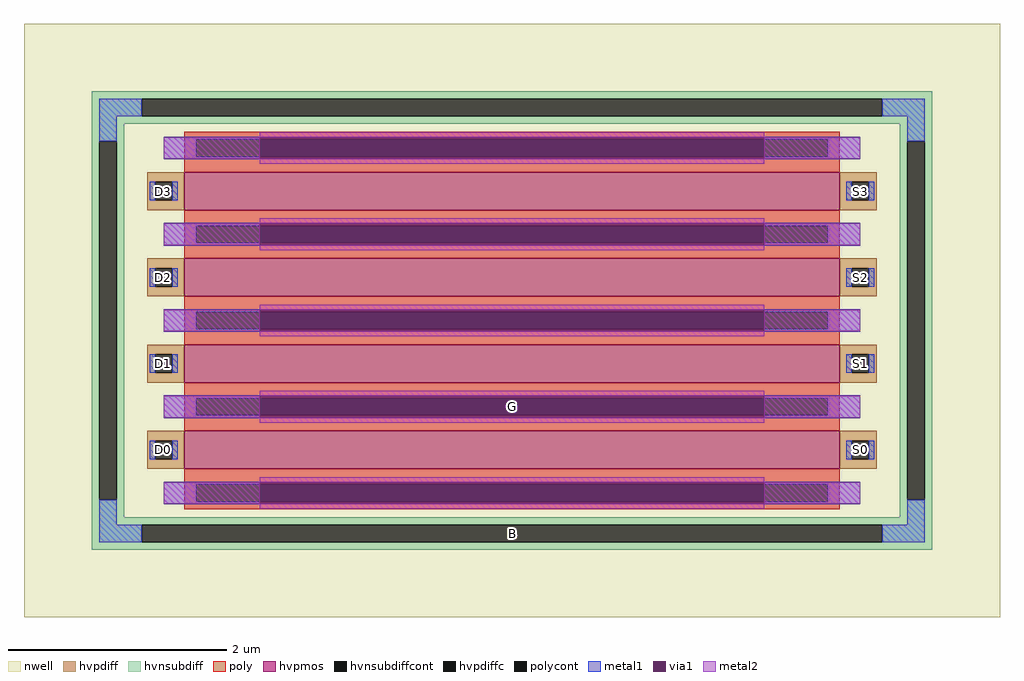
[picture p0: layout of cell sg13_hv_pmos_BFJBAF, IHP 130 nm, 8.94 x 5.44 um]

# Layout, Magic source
magic
tech ihp-sg13cmos5l
magscale 1 2
<< nwell >>
rect -894 -544 894 544
<< hvpmos >>
rect -600 202 600 272
rect -600 44 600 114
rect -600 -114 600 -44
rect -600 -272 600 -202
<< hvpdiff >>
rect -668 254 -600 272
rect -668 220 -654 254
rect -622 220 -600 254
rect -668 202 -600 220
rect 600 254 668 272
rect 600 220 622 254
rect 654 220 668 254
rect 600 202 668 220
rect -668 96 -600 114
rect -668 62 -654 96
rect -622 62 -600 96
rect -668 44 -600 62
rect 600 96 668 114
rect 600 62 622 96
rect 654 62 668 96
rect 600 44 668 62
rect -668 -62 -600 -44
rect -668 -96 -654 -62
rect -622 -96 -600 -62
rect -668 -114 -600 -96
rect 600 -62 668 -44
rect 600 -96 622 -62
rect 654 -96 668 -62
rect 600 -114 668 -96
rect -668 -220 -600 -202
rect -668 -254 -654 -220
rect -622 -254 -600 -220
rect -668 -272 -600 -254
rect 600 -220 668 -202
rect 600 -254 622 -220
rect 654 -254 668 -220
rect 600 -272 668 -254
<< hvpdiffc >>
rect -654 220 -622 254
rect 622 220 654 254
rect -654 62 -622 96
rect 622 62 654 96
rect -654 -96 -622 -62
rect 622 -96 654 -62
rect -654 -254 -622 -220
rect 622 -254 654 -220
<< hvnsubdiff >>
rect -770 406 770 420
rect -770 374 -678 406
rect 678 374 770 406
rect -770 360 770 374
rect -770 328 -710 360
rect -770 -328 -756 328
rect -724 -328 -710 328
rect 710 328 770 360
rect -770 -360 -710 -328
rect 710 -328 724 328
rect 756 -328 770 328
rect 710 -360 770 -328
rect -770 -374 770 -360
rect -770 -406 -678 -374
rect 678 -406 770 -374
rect -770 -420 770 -406
<< hvnsubdiffcont >>
rect -678 374 678 406
rect -756 -328 -724 328
rect 724 -328 756 328
rect -678 -406 678 -374
<< poly >>
rect -600 332 600 346
rect -600 300 -578 332
rect 578 300 600 332
rect -600 272 600 300
rect -600 174 600 202
rect -600 142 -578 174
rect 578 142 600 174
rect -600 114 600 142
rect -600 16 600 44
rect -600 -16 -578 16
rect 578 -16 600 16
rect -600 -44 600 -16
rect -600 -142 600 -114
rect -600 -174 -578 -142
rect 578 -174 600 -142
rect -600 -202 600 -174
rect -600 -300 600 -272
rect -600 -332 -578 -300
rect 578 -332 600 -300
rect -600 -346 600 -332
<< polycont >>
rect -578 300 578 332
rect -578 142 578 174
rect -578 -16 578 16
rect -578 -174 578 -142
rect -578 -332 578 -300
<< metal1 >>
rect -756 374 -678 406
rect 678 374 756 406
rect -756 328 -724 374
rect -638 336 638 337
rect -638 332 -462 336
rect 462 332 638 336
rect -638 300 -578 332
rect 578 300 638 332
rect -638 296 -462 300
rect 462 296 638 300
rect -638 295 638 296
rect 724 328 756 374
rect -664 220 -654 254
rect -622 220 -612 254
rect 612 220 622 254
rect 654 220 664 254
rect -638 178 638 179
rect -638 174 -462 178
rect 462 174 638 178
rect -638 142 -578 174
rect 578 142 638 174
rect -638 138 -462 142
rect 462 138 638 142
rect -638 137 638 138
rect -664 62 -654 96
rect -622 62 -612 96
rect 612 62 622 96
rect 654 62 664 96
rect -638 20 638 21
rect -638 16 -462 20
rect 462 16 638 20
rect -638 -16 -578 16
rect 578 -16 638 16
rect -638 -20 -462 -16
rect 462 -20 638 -16
rect -638 -21 638 -20
rect -664 -96 -654 -62
rect -622 -96 -612 -62
rect 612 -96 622 -62
rect 654 -96 664 -62
rect -638 -138 638 -137
rect -638 -142 -462 -138
rect 462 -142 638 -138
rect -638 -174 -578 -142
rect 578 -174 638 -142
rect -638 -178 -462 -174
rect 462 -178 638 -174
rect -638 -179 638 -178
rect -664 -254 -654 -220
rect -622 -254 -612 -220
rect 612 -254 622 -220
rect 654 -254 664 -220
rect -756 -374 -724 -328
rect -638 -296 638 -295
rect -638 -300 -462 -296
rect 462 -300 638 -296
rect -638 -332 -578 -300
rect 578 -332 638 -300
rect -638 -336 -462 -332
rect 462 -336 638 -332
rect -638 -337 638 -336
rect 724 -374 756 -328
rect -756 -406 -678 -374
rect 678 -406 756 -374
<< via1 >>
rect -462 332 462 336
rect -462 300 462 332
rect -462 296 462 300
rect -462 174 462 178
rect -462 142 462 174
rect -462 138 462 142
rect -462 16 462 20
rect -462 -16 462 16
rect -462 -20 462 -16
rect -462 -142 462 -138
rect -462 -174 462 -142
rect -462 -178 462 -174
rect -462 -300 462 -296
rect -462 -332 462 -300
rect -462 -336 462 -332
<< metal2 >>
rect -462 336 462 345
rect -638 296 -462 336
rect 462 296 638 336
rect -462 287 462 296
rect -462 178 462 187
rect -638 138 -462 178
rect 462 138 638 178
rect -462 129 462 138
rect -462 20 462 29
rect -638 -20 -462 20
rect 462 -20 638 20
rect -462 -29 462 -20
rect -462 -138 462 -129
rect -638 -178 -462 -138
rect 462 -178 638 -138
rect -462 -187 462 -178
rect -462 -296 462 -287
rect -638 -336 -462 -296
rect 462 -336 638 -296
rect -462 -345 462 -336
<< labels >>
rlabel hvnsubdiffcont 0 -390 0 -390 0 B
port 1 nsew
rlabel hvpdiffc -638 -237 -638 -237 0 D0
port 2 nsew
rlabel hvpdiffc 638 -237 638 -237 0 S0
port 3 nsew
rlabel polycont 0 -158 0 -158 0 G
port 4 nsew
rlabel hvpdiffc -638 -79 -638 -79 0 D1
port 5 nsew
rlabel hvpdiffc 638 -79 638 -79 0 S1
port 6 nsew
rlabel hvpdiffc -638 79 -638 79 0 D2
port 7 nsew
rlabel hvpdiffc 638 79 638 79 0 S2
port 8 nsew
rlabel hvpdiffc -638 237 -638 237 0 D3
port 9 nsew
rlabel hvpdiffc 638 237 638 237 0 S3
port 10 nsew
<< properties >>
string FIXED_BBOX -740 -390 740 390
string gencell sg13_hv_pmos
string library sg13cmos5l
string parameters w 0.35 l 6.0 m 4 ng 1 diffcov 80 polycov 50 guard 1 glc 1 grc 1 gtc 1 gbc 1 tbcov 100 rlcov 100 topc 1 botc 1 poverlap 1 doverlap 0 lmin 0.4 wmin 0.15 class mosfet compatible {sg13_lv_pmos sg13_hv_pmos} full_metal 1 conn_gates 1 gate_ring 0 ccols 1 viasrc 0 viadrn 0 viagate 80 viagb 0 viagr 0 viagl 0 viagt 0 doports 1
<< end >>
